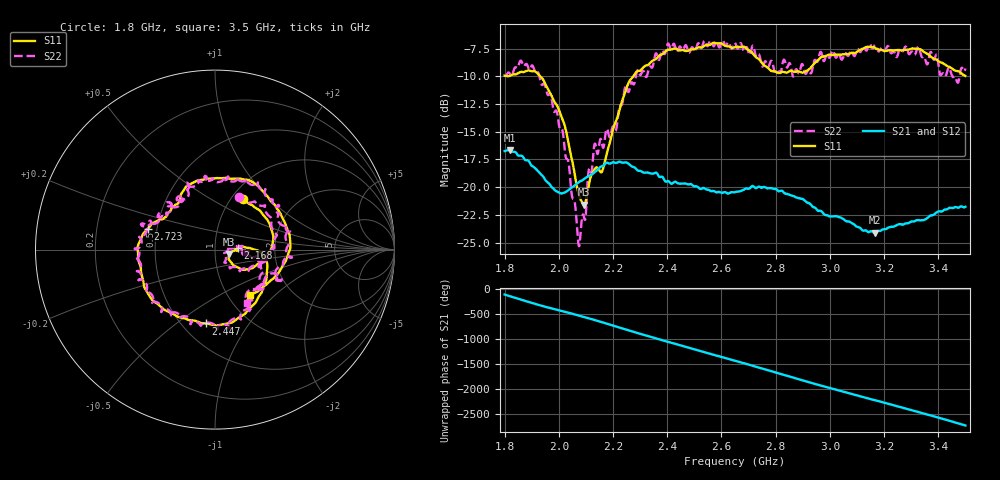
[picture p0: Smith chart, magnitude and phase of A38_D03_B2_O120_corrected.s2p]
! Created with skrf 1.9.0 (http://scikit-rf.org).
# Hz S RI R 50.0
!freq ReS11 ImS11 ReS21 ImS21 ReS12 ImS12 ReS22 ImS22
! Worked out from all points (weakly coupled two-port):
!   1601 points, 1.8 GHz to 3.5 GHz, reference 50 ohm
!   highest |S21| = -16.64 dB at 1.818 GHz (marker M1); lowest = -24.1 dB at 3.165 GHz (marker M2)
!   lowest |S11| = -21.6 dB at 2.093 GHz (marker M3), VSWR 1.18, Z = 58.6 - j2.91 ohm
!   |S11| at or under -10 dB: 1.932 GHz to 2.274 GHz (341.8 MHz wide, 16.3 % of centre)
!   |S22| runs from -25.3 to -6.7 dB; largest |S21 - S12| = 0.0025
!   S11 on the Smith chart (normalised r, x): 1.8 GHz: 1.13, +0.70; 2.168 GHz: 1.29, +0.03; 2.447 GHz: 0.65, -0.65; 2.723 GHz: 0.45, +0.12; 3.5 GHz: 1.26, -0.71
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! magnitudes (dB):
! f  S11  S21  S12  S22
! 1.8 GHz  -9.9  -16.7  -16.7  -9.9
! 1.818 GHz  -10.0  -16.6  -16.7  -9.7
! 1.903 GHz  -9.5  -18.1  -18.1  -9.0
! 1.968 GHz  -11.5  -19.8  -19.8  -11.6
! 2.015 GHz  -13.9  -20.5  -20.6  -15.0
! 2.072 GHz  -20.5  -19.6  -19.6  -25.1
! 2.084 GHz  -21.3  -19.4  -19.4  -23.1
! 2.093 GHz  -21.6  -19.3  -19.3  -22.7
! 2.13 GHz  -18.4  -18.7  -18.7  -16.3
! 2.168 GHz  -17.9  -18.0  -18.0  -16.1
! 2.259 GHz  -10.5  -17.9  -17.9  -11.3
! 2.367 GHz  -8.2  -19.0  -18.9  -8.5
! 2.447 GHz  -7.6  -19.7  -19.7  -7.3
! 2.65 GHz  -7.4  -20.4  -20.4  -7.0
! 2.723 GHz  -8.2  -20.0  -20.0  -7.8
! 2.808 GHz  -9.7  -20.3  -20.3  -9.4
! 2.934 GHz  -9.1  -21.7  -21.7  -9.5
! 3.165 GHz  -7.4  -24.1  -24.1  -7.2
! 3.217 GHz  -7.6  -23.6  -23.6  -7.4
! 3.376 GHz  -8.3  -22.5  -22.5  -7.9
! 3.469 GHz  -9.5  -21.8  -21.8  -10.5
! 3.5 GHz  -10.0  -21.8  -21.8  -9.3
